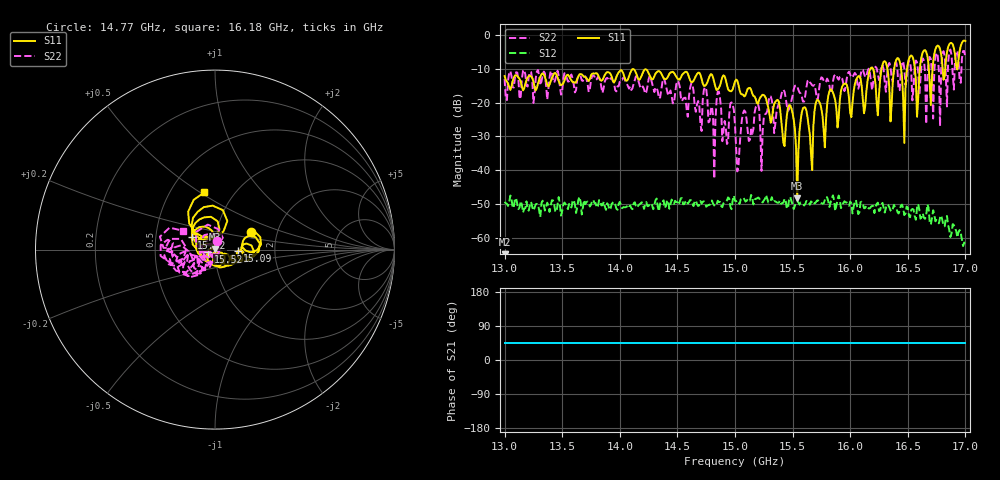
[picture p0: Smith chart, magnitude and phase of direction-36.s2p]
!Keysight Technologies,P9374A,MY57211810,A.19.30.04
!Date: Friday, May 02, 2025 09:00:18
!Correction: S11(Off)
!S21(Off)
!S12(Off)
!S22(Off)
!S2P File: Measurements: S11, S21, S12, S22:
# Hz S  dB  R 50
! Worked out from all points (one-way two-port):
!   401 points, 13 GHz to 17 GHz, reference 50 ohm
!   highest |S21| = - dB at 13 GHz (marker M1); lowest = - dB at 13 GHz (marker M2)
!   lowest |S11| = -48.3 dB at 15.54 GHz (marker M3), VSWR 1.01, Z = 49.8 + j0.348 ohm
!   |S11| at or under -10 dB: start of sweep to 16.18 GHz; 16.19687 GHz to 16.27329 GHz (76.41 MHz wide, 0.471 % of centre); 16.32251 GHz to 16.38156 GHz (59.05 MHz wide, 0.361 % of centre) (the widest 3 of 8)
!   |S22| runs from -42.5 to -4.4 dB; largest |S21 - S12| = 0.0043
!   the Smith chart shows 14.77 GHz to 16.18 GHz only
!   S11 on the Smith chart (normalised r, x): 14.77 GHz: 1.46, +0.30; 15.09 GHz: 1.29, -0.02; 15.52 GHz: 0.93, -0.02; 15.82 GHz: 0.76, +0.11; 16.18 GHz: 0.73, +0.52
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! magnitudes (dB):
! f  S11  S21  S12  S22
! 13 GHz  -12.2  -  -49.3  -13.0
! 13.67 GHz  -11.7  -  -53.0  -13.5
! 14.34 GHz  -10.7  -  -52.1  -18.8
! 14.77 GHz  -13.1  -  -50.2  -25.9
! 15 GHz  -13.8  -  -49.0  -26.6
! 15.03 GHz  -14.8  -  -49.4  -38.9
! 15.09 GHz  -17.9  -  -49.2  -22.8
! 15.24 GHz  -17.7  -  -49.5  -28.6
! 15.42 GHz  -31.9  -  -49.5  -16.2
! 15.48 GHz  -20.9  -  -47.9  -20.8
! 15.52 GHz  -27.9  -  -50.4  -15.1
! 15.54 GHz  -48.3  -  -49.1  -15.1
! 15.6 GHz  -21.4  -  -50.4  -19.7
! 15.67 GHz  -39.9  -  -49.5  -14.9
! 15.82 GHz  -16.7  -  -50.8  -15.1
! 16.12 GHz  -23.2  -  -51.2  -11.4
! 16.18 GHz  -9.8  -  -50.8  -13.6
! 16.34 GHz  -15.8  -  -50.9  -8.3
! 16.41 GHz  -6.9  -  -52.2  -10.2
! 16.47 GHz  -31.9  -  -53.2  -10.0
! 16.52 GHz  -6.4  -  -53.8  -8.0
! 17 GHz  -1.9  -  -61.4  -6.9
